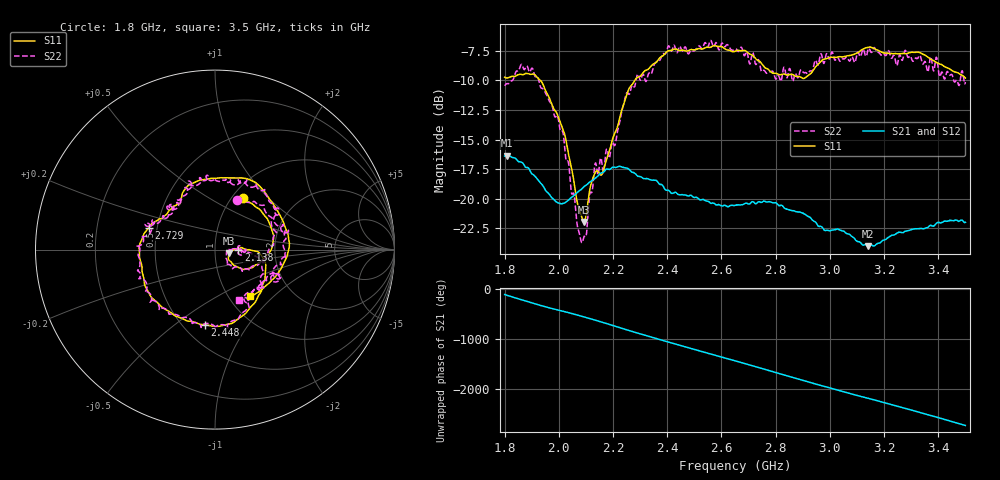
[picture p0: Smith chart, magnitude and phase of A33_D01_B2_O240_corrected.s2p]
! Created with skrf 1.9.0 (http://scikit-rf.org).
# Hz S RI R 50.0
!freq ReS11 ImS11 ReS21 ImS21 ReS12 ImS12 ReS22 ImS22
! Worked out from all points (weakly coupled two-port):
!   1601 points, 1.8 GHz to 3.5 GHz, reference 50 ohm
!   highest |S21| = -16.36 dB at 1.81 GHz (marker M1); lowest = -24.0 dB at 3.142 GHz (marker M2)
!   lowest |S11| = -22.0 dB at 2.093 GHz (marker M3), VSWR 1.17, Z = 58.3 - j2.45 ohm
!   |S11| at or under -10 dB: 1.932 GHz to 2.28 GHz (348.7 MHz wide, 16.6 % of centre)
!   |S22| runs from -23.7 to -6.6 dB; largest |S21 - S12| = 0.003
!   S11 on the Smith chart (normalised r, x): 1.8 GHz: 1.12, +0.72; 2.138 GHz: 1.30, -0.01; 2.448 GHz: 0.64, -0.65; 2.729 GHz: 0.45, +0.13; 3.5 GHz: 1.24, -0.72
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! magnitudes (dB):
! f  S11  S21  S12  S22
! 1.8 GHz  -9.7  -16.4  -16.4  -10.5
! 1.81 GHz  -9.8  -16.4  -16.4  -10.3
! 1.882 GHz  -9.4  -17.4  -17.4  -8.8
! 1.969 GHz  -11.7  -19.8  -19.8  -11.9
! 2.014 GHz  -14.0  -20.4  -20.4  -14.3
! 2.084 GHz  -21.5  -19.2  -19.2  -23.7
! 2.093 GHz  -22.0  -19.0  -19.0  -23.2
! 2.138 GHz  -17.7  -18.2  -18.2  -17.1
! 2.161 GHz  -17.8  -17.8  -17.7  -17.4
! 2.208 GHz  -14.4  -17.4  -17.3  -15.4
! 2.261 GHz  -10.6  -17.6  -17.6  -11.1
! 2.367 GHz  -8.2  -18.7  -18.6  -8.4
! 2.448 GHz  -7.5  -19.7  -19.7  -7.2
! 2.65 GHz  -7.6  -20.6  -20.5  -7.3
! 2.729 GHz  -8.2  -20.4  -20.4  -8.6
! 2.814 GHz  -9.5  -20.6  -20.5  -9.8
! 2.934 GHz  -9.3  -21.8  -21.8  -9.2
! 2.967 GHz  -8.4  -22.3  -22.4  -7.8
! 3.142 GHz  -7.2  -24.0  -23.9  -7.3
! 3.217 GHz  -7.7  -23.2  -23.2  -7.5
! 3.331 GHz  -7.7  -22.5  -22.5  -7.9
! 3.5 GHz  -9.8  -22.0  -22.0  -10.1
